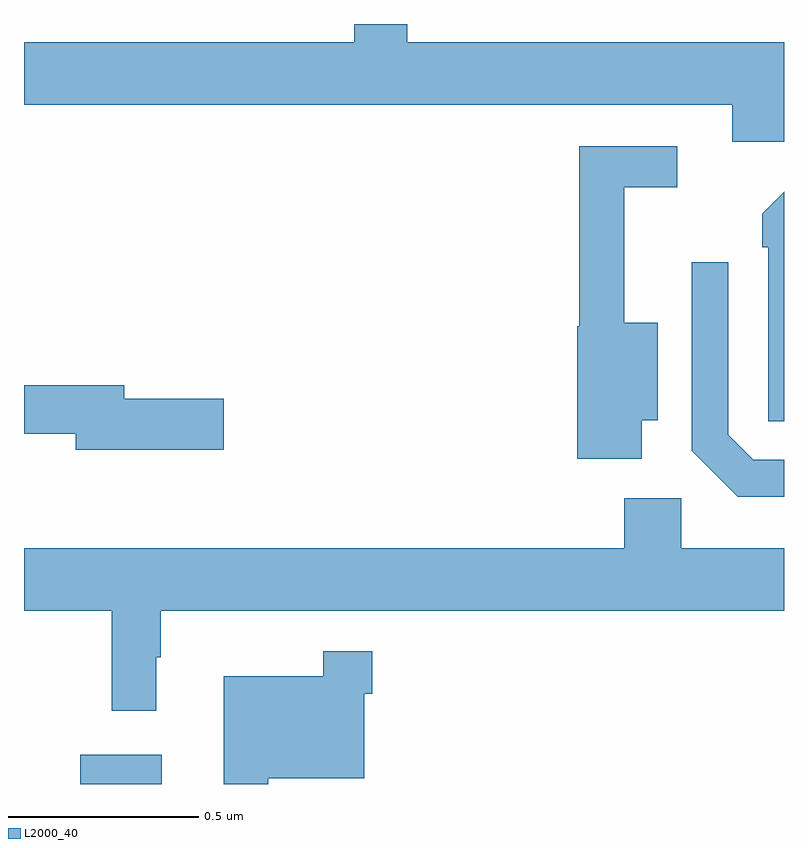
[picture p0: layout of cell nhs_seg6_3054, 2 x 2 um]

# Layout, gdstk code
import gdstk
lib = gdstk.Library(unit=1e-6, precision=1e-09)
def R(c, l, rs):  # rectangles x0, y0, x1, y1
    for r in rs: c.add(gdstk.rectangle(r[:2], r[2:], *l))
def P(c, l, *ps):  # polygons
    for p in ps: c.add(gdstk.Polygon(p, *l))
L2000_40 = (2000, 40)

nhs_seg6_3054 = lib.new_cell('nhs_seg6_3054')
R(nhs_seg6_3054, L2000_40, [(151.148,993.5,151.363,993.577)])
P(nhs_seg6_3054, L2000_40, [(153,995.452),(152.008,995.452),(152.008,995.5),(151.869,995.5),(151.869,995.452),(151,995.452),(151,995.288),(152.864,995.288),(152.864,995.19),(153,995.19)],
  [(152.626,994.457),(152.668,994.457),(152.668,994.714),(152.579,994.714),(152.579,995.07),(152.719,995.07),(152.719,995.178),(152.461,995.178),(152.461,994.704),(152.456,994.704),(152.456,994.356),(152.626,994.356)],
  [(153,995.058),(152.943,995.001),(152.943,994.913),(152.958,994.913),(152.958,994.455),(153,994.455)],
  [(153,994.353),(152.919,994.353),(152.853,994.419),(152.853,994.873),(152.757,994.873),(152.757,994.377),(152.878,994.256),(153,994.256)],
  [(151.525,994.514),(151.264,994.514),(151.264,994.55),(151,994.55),(151,994.422),(151.136,994.422),(151.136,994.379),(151.525,994.379)],
  [(151.348,993.833),(151.36,993.833),(151.36,993.956),(153,993.956),(153,994.12),(152.73,994.12),(152.73,994.252),(152.579,994.252),(152.579,994.12),(151,994.12),(151,993.956),(151.231,993.956),(151.231,993.693),(151.348,993.693)],
  [(151.643,993.515),(151.896,993.515),(151.896,993.737),(151.916,993.737),(151.916,993.85),(151.788,993.85),(151.788,993.784),(151.526,993.784),(151.526,993.5),(151.643,993.5)])

lib.write_gds('nhs_seg6_3054.gds')
